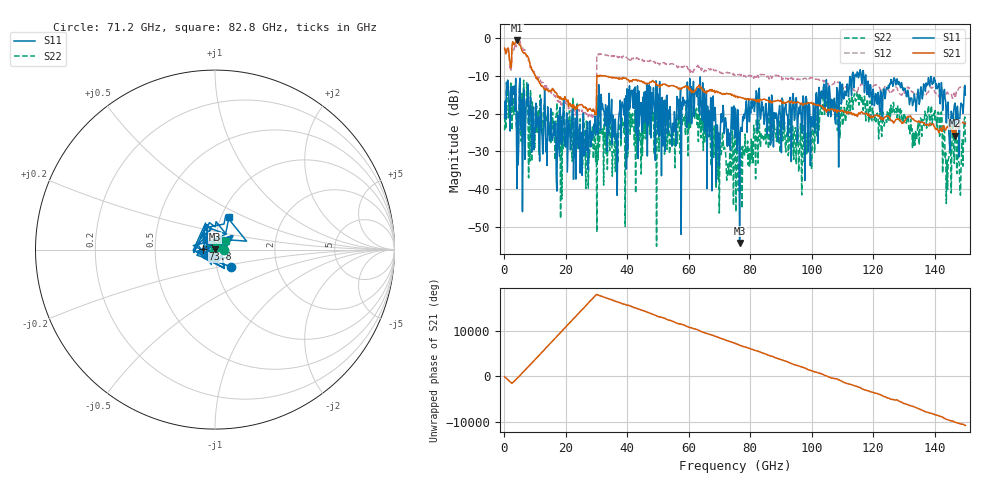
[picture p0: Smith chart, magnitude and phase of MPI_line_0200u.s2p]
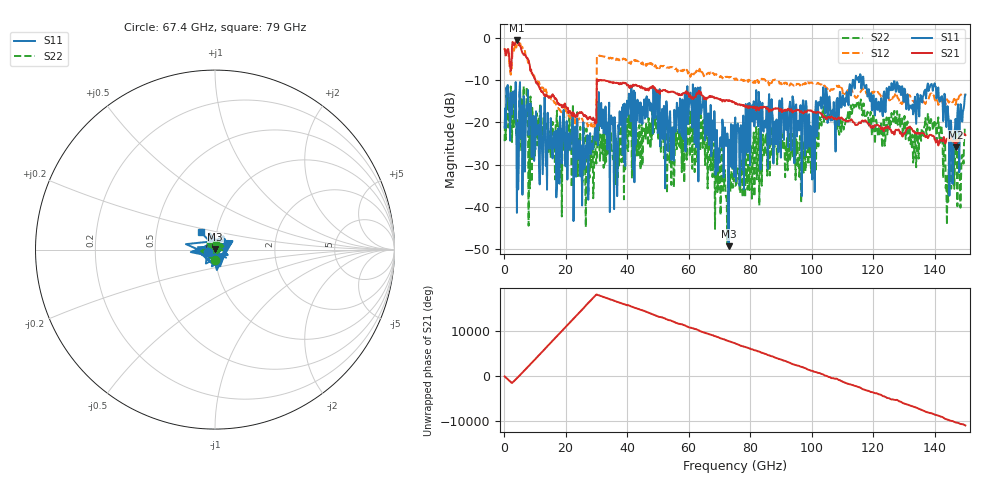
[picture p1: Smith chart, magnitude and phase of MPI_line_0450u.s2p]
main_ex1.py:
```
"""
@author: Ziad Hatab (zi.hatab@gmail.com)

Example of mTRL uncertainly propagation using measurements with switch-terms.
The uncertainty values given here are just for illustration and are not accurate representation of the measurement.
"""

import os

# pip install numpy matplotlib scikit-rf metas_unclib -U
import skrf as rf
import numpy as np
import matplotlib.pyplot as plt   # for plotting
import metas_unclib as munc
munc.use_linprop()

# umTRL.py should be in same folder as this script
from umTRL import umTRL

class PlotSettings:
    # to make plots look better for publication
    # https://matplotlib.org/stable/tutorials/introductory/customizing.html
    def __init__(self, font_size=10, latex=False): 
        self.font_size = font_size 
        self.latex = latex
    def __enter__(self):
        plt.style.use('seaborn-v0_8-paper')
        # make svg output text and not curves
        plt.rcParams['svg.fonttype'] = 'none'
        # fontsize of the axes title
        plt.rc('axes', titlesize=self.font_size*1.2)
        # fontsize of the x and y labels
        plt.rc('axes', labelsize=self.font_size)
        # fontsize of the tick labels
        plt.rc('xtick', labelsize=self.font_size)
        plt.rc('ytick', labelsize=self.font_size)
        # legend fontsize
        plt.rc('legend', fontsize=self.font_size*1)
        # fontsize of the figure title
        plt.rc('figure', titlesize=self.font_size)
        # controls default text sizes
        plt.rc('text', usetex=self.latex)
        #plt.rc('font', size=self.font_size, family='serif', serif='Times New Roman')
        plt.rc('lines', linewidth=1.5)
    def __exit__(self, exception_type, exception_value, traceback):
        plt.style.use('default')

if __name__ == '__main__':
    # useful functions
    c0 = 299792458   # speed of light in vacuum (m/s)
    mag2db = lambda x: 20*np.log10(abs(x))
    db2mag = lambda x: 10**(x/20)
    gamma2ereff = lambda x,f: -(c0/2/np.pi/f*x)**2
    ereff2gamma = lambda x,f: 2*np.pi*f/c0*np.sqrt(-(x-1j*np.finfo(float).eps))  # eps to ensure positive square-root
    gamma2dbmm  = lambda x: mag2db(np.exp(x.real*1e-3))  # losses dB/mm
    
    # load the measurements
    # files' path are reference to script's path
    s2p_path = os.path.dirname(os.path.realpath(__file__)) + '\\MPI_ISS_measurements\\'
    
    # switch terms
    gamma_f = rf.Network(s2p_path + 'VNA_switch_term.s2p').s21
    gamma_r = rf.Network(s2p_path + 'VNA_switch_term.s2p').s12
    
    # Calibration standards
    L1    = rf.Network(s2p_path + 'MPI_line_0200u.s2p')
    L2    = rf.Network(s2p_path + 'MPI_line_0450u.s2p')
    L3    = rf.Network(s2p_path + 'MPI_line_0900u.s2p')
    L4    = rf.Network(s2p_path + 'MPI_line_1800u.s2p')
    L5    = rf.Network(s2p_path + 'MPI_line_3500u.s2p')
    L6    = rf.Network(s2p_path + 'MPI_line_5250u.s2p') # use as DUT
    SHORT = rf.Network(s2p_path + 'MPI_short.s2p')
    f = L1.frequency.f
    lines = [L1, L2, L3, L4, L5, L6]
    line_lengths = [200e-6, 450e-6, 900e-6, 1800e-6, 3500e-6, 5250e-6]
    reflect = SHORT
    reflect_est = -1
    reflect_offset = -100e-6
    ereff_est = 5+0j
    
    # Uncertainties need to be defined as variance/covariance.
    # The below values do not represent the actual uncertainties of the ISS nor 
    # the VNA. They are just numbers I came up with to showcase how the code works.
    sigma     = 0.002 # S-parameters iid Gaussian noise
    uSlines   = sigma**2 # line measurements uncertainty (all lines have same uncertainty)
    uSreflect = sigma**2 # reflect measurements uncertainty
    usw       = sigma**2 # switch-terms measurements uncertainty
    ulengths  = (0.02e-3)**2  # uncertainty in length (all lines have same uncertainty)
    ureflect  = np.diag([0.01, 0])**2  # uncertainty of the reflect standard
    uereff_Gamma = np.diag([0.05, 0.5e-4, 0.002, 1.5e-7])**2 # mismatch uncertainty (all lines have same uncertainty)

    cal = umTRL(lines=lines, line_lengths=line_lengths, reflect=reflect, 
               reflect_est=reflect_est, reflect_offset=reflect_offset, 
               ereff_est=ereff_est, switch_term=[gamma_f,gamma_r],
               uSlines=uSlines, ulengths=ulengths, uSreflect=uSreflect, 
               ureflect=ureflect, uereff_Gamma=uereff_Gamma,
               uswitch_term=usw)
    cal.run_umTRL()
    
    dut_embed = L6
    dut_cal, dut_cal_S = cal.apply_cal(dut_embed)
    
    k = 2 # coverage factor
    with PlotSettings(14):
        fig, axs = plt.subplots(2,2, figsize=(10,7))        
        fig.set_dpi(600)
        fig.tight_layout(pad=2)
        ax = axs[0,0]
        mu  = munc.get_value(cal.ereff).real
        std = munc.get_stdunc(cal.ereff).real
        ax.plot(f*1e-9, mu, lw=2, label='mTRL linear propagation')
        ax.fill_between(f*1e-9, mu-std*k, mu+std*k, alpha=0.3)
        ax.set_xlabel('Frequency (GHz)')
        ax.set_ylabel('Relative effective permittivity')
        ax.set_ylim([4.5, 6.5])
        #ax.set_yticks(np.arange(4.5, 6.01, 0.3))
        ax.set_xlim(0,150)
        ax.set_xticks(np.arange(0,151,30))
        #ax.legend()
        
        ax = axs[0,1]
        loss_dbmm_mTRL_model_lin = gamma2dbmm(cal.gamma)
        mu  = munc.get_value(loss_dbmm_mTRL_model_lin)
        std = munc.get_stdunc(loss_dbmm_mTRL_model_lin)
        ax.plot(f*1e-9, mu, lw=2, label='mTRL linear propagation')
        ax.fill_between(f*1e-9, mu-std*k, mu+std*k, alpha=0.3)
        ax.set_xlabel('Frequency (GHz)')
        ax.set_ylabel('Loss (dB/mm)')
        ax.set_ylim([0, 1])
        #ax.set_yticks(np.arange(0, 1.51, 0.3))
        ax.set_xlim(0,150)
        ax.set_xticks(np.arange(0,151,30))
        #ax.legend()
        
        ax = axs[1,0]
        mu  = munc.get_value(abs(dut_cal_S[:,0,0])).squeeze()
        std = munc.get_stdunc(abs(dut_cal_S[:,0,0])).squeeze()
        ax.plot(f*1e-9, mu, lw=2, label='mTRL linear propagation')
        ax.fill_between(f*1e-9, mu-std*k, mu+std*k, alpha=0.3)
        ax.set_xlabel('Frequency (GHz)')
        ax.set_ylabel('S11 (mag)')
        ax.set_ylim([-0.04, 0.08])
        #ax.set_yticks(np.arange(.5, 0.91, 0.1))
        ax.set_xlim(0,150)
        ax.set_xticks(np.arange(0,151,30))
        #ax.legend()
        
        ax = axs[1,1]
        mu  = munc.get_value(abs(dut_cal_S[:,1,0])).squeeze()
        std = munc.get_stdunc(abs(dut_cal_S[:,1,0])).squeeze()
        ax.plot(f*1e-9, mu, lw=2, label='mTRL linear propagation')
        ax.fill_between(f*1e-9, mu-std*k, mu+std*k, alpha=0.3)
        ax.set_xlabel('Frequency (GHz)')
        ax.set_ylabel('S21 (mag)')
        ax.set_ylim([0.5, 1])
        #ax.set_yticks(np.arange(.5, 0.91, 0.1))
        ax.set_xlim(0,150)
        ax.set_xticks(np.arange(0,151,30))
        #ax.legend()

        plt.suptitle(r"CPW parameters and calibrated DUT with 95% uncertainty bounds ($2\times\sigma$)", 
             verticalalignment='bottom').set_y(0.98)

    plt.show()
    
# EOF
```
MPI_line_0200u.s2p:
!  2-Port S-parameters saved by WinCal
! VAR MeasName=S-Parameters (RAW_DATA) read from VNA (MS4647B)
! VAR MeasDate=09-Dec-21 16:13:14
! VAR NAME=L0
! VAR FILENAME=L0.S2P
! VAR DATE=09-Dec-21 16:13:14
! VAR PHYS_PORTS=1,2
! VAR ObjTypeName=DATASET
! VAR IndexType=Frequency
# Hz S RI R 50
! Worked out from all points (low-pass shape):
!   750 points, 200 MHz to 150 GHz, reference 50 ohm
!   highest |S21| = -0.65 dB at 4.2 GHz (marker M1); lowest = -25.9 dB at 146.6 GHz (marker M2)
!   |S21| within 3 dB of the highest: 777.9 MHz to 1.556 GHz (778 MHz wide, 66.7 % of centre); 2.543 GHz to 6.068 GHz (3.526 GHz wide, 81.9 % of centre)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
!   lowest |S11| = -54.3 dB at 76.6 GHz (marker M3), VSWR 1.00, Z = 50.2 + j0.0714 ohm
!   |S11| at or under -10 dB: start of sweep to 113.2 GHz; 113.5485 GHz to 114.0448 GHz (496.3 MHz wide, 0.436 % of centre); 117.6 GHz to end of sweep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
!   |S22| runs from -55.1 to -11.2 dB; largest |S21 - S12| = 1.8
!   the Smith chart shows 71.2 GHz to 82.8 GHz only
!   S11 on the Smith chart (normalised r, x): 71.2 GHz: 1.17, -0.22; 73.8 GHz: 0.87, +0.00; 82.8 GHz: 1.09, +0.42
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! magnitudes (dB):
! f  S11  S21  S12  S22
! 200 MHz  -21.3  -2.7  -2.6  -24.5
! 4.2 GHz  -39.9  -0.6  -1.3  -24.3
! 29.4 GHz  -24.4  -19.2  -20.8  -27.4
! 30.8 GHz  -12.3  -10.2  -4.5  -19.5
! 71.2 GHz  -17.8  -14.9  -9.4  -26.4
! 73.8 GHz  -23.2  -14.9  -9.2  -36.7
! 75.2 GHz  -18.6  -15.7  -9.8  -28.1
! 76.6 GHz  -54.3  -15.6  -9.6  -37.5
! 82.8 GHz  -14.0  -17.0  -10.5  -22.4
! 146.6 GHz  -17.2  -25.9  -15.9  -22.7
! 150 GHz  -15.1  -22.6  -13.4  -27.6
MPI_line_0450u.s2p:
!  2-Port S-parameters saved by WinCal
! VAR MeasName=S-Parameters (RAW_DATA) read from VNA (MS4647B)
! VAR MeasDate=09-Dec-21 16:08:55
! VAR NAME=L1
! VAR FILENAME=L1.S2P
! VAR DATE=09-Dec-21 16:08:55
! VAR PHYS_PORTS=1,2
! VAR ObjTypeName=DATASET
! VAR IndexType=Frequency
# Hz S RI R 50
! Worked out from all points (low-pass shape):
!   750 points, 200 MHz to 150 GHz, reference 50 ohm
!   highest |S21| = -0.66 dB at 4.2 GHz (marker M1); lowest = -25.8 dB at 146.8 GHz (marker M2)
!   |S21| within 3 dB of the highest: 775.3 MHz to 1.557 GHz (781.5 MHz wide, 67 % of centre); 2.542 GHz to 6.061 GHz (3.519 GHz wide, 81.8 % of centre)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
!   lowest |S11| = -49.2 dB at 73 GHz (marker M3), VSWR 1.01, Z = 50.1 + j0.331 ohm
!   |S11| at or under -10 dB: start of sweep to 113.4 GHz; 113.6 GHz to 114.2 GHz (677.8 MHz wide, 0.595 % of centre); 116.9 GHz to end of sweep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
!   |S22| runs from -48.4 to -11.5 dB; largest |S21 - S12| = 1.8
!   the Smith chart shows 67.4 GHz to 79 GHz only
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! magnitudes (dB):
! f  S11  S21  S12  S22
! 200 MHz  -21.2  -2.7  -2.6  -24.4
! 4.2 GHz  -41.4  -0.7  -1.3  -23.7
! 29.4 GHz  -23.2  -19.3  -20.9  -25.1
! 30.8 GHz  -12.8  -10.2  -4.5  -20.4
! 36.4 GHz  -24.2  -10.7  -5.3  -23.8
! 63.6 GHz  -13.8  -12.9  -7.4  -24.3
! 73 GHz  -49.2  -14.8  -9.3  -30.7
! 75.2 GHz  -18.8  -15.7  -9.9  -31.7
! 114.6 GHz  -9.4  -20.6  -14.2  -16.1
! 146.8 GHz  -19.2  -25.8  -15.9  -22.4
! 150 GHz  -13.4  -23.0  -13.8  -21.0
